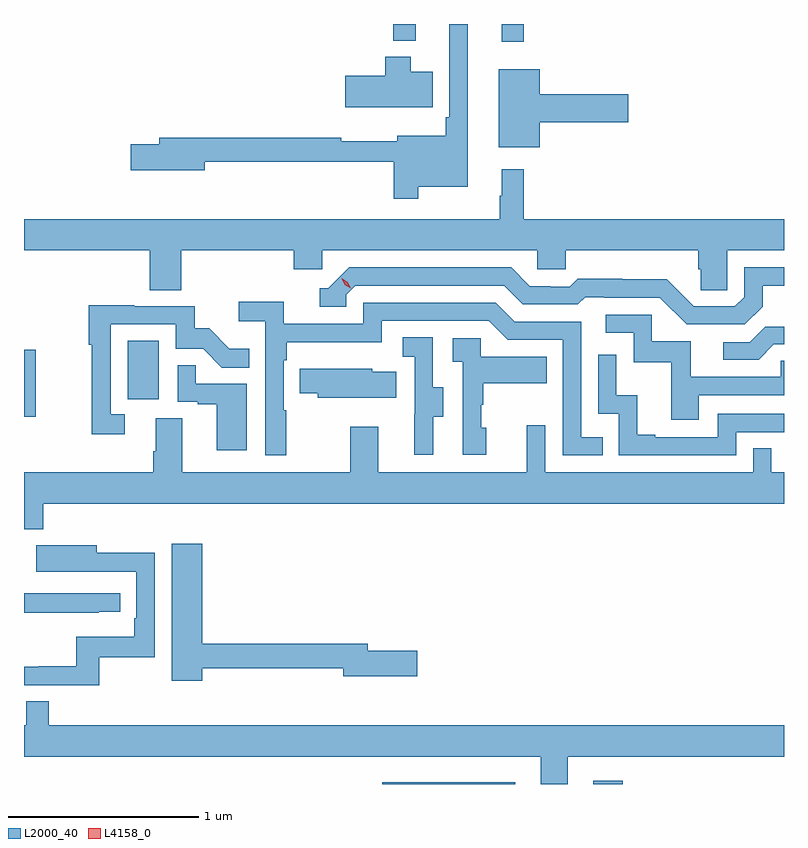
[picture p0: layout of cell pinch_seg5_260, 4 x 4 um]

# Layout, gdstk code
import gdstk
lib = gdstk.Library(unit=1e-6, precision=1e-09)
def R(c, l, rs):  # rectangles x0, y0, x1, y1
    for r in rs: c.add(gdstk.rectangle(r[:2], r[2:], *l))
def P(c, l, *ps):  # polygons
    for p in ps: c.add(gdstk.Polygon(p, *l))
L2000_40 = (2000, 40)
L4158_0 = (4158, 0)

pinch_seg5_260 = lib.new_cell('pinch_seg5_260')
R(pinch_seg5_260, L2000_40, [(898.371,895.244,899.071,895.252), (899.483,895.244,899.636,895.261), (896.486,897.177,896.548,897.529), (897.032,897.27,897.196,897.577), (899,899.151,899.117,899.244), (898.429,899.156,898.547,899.244)])
P(pinch_seg5_260, L2000_40, [(898.561,898.388),(898.822,898.388),(898.822,899.244),(898.725,899.244),(898.725,898.753),(898.705,898.753),(898.705,898.657),(898.451,898.657),(898.451,898.627),(898.155,898.627),(898.155,898.646),(897.197,898.646),(897.197,898.61),(897.048,898.61),(897.048,898.475),(897.436,898.475),(897.436,898.518),(898.432,898.518),(898.432,898.323),(898.561,898.323)],
  [(898.636,898.993),(898.522,898.993),(898.522,899.071),(898.388,899.071),(898.388,898.971),(898.176,898.971),(898.176,898.805),(898.636,898.805)],
  [(899.2,898.727),(899.665,898.727),(899.665,898.874),(899.2,898.874),(899.2,899.005),(898.985,899.005),(898.985,898.595),(899.2,898.595)],
  [(897.314,898.052),(897.905,898.052),(897.905,897.954),(898.056,897.954),(898.056,898.052),(899.187,898.052),(899.187,897.954),(899.337,897.954),(899.337,898.052),(900.035,898.052),(900.035,897.954),(900.049,897.954),(900.049,897.844),(900.186,897.844),(900.186,898.052),(900.486,898.052),(900.486,898.216),(899.117,898.216),(899.117,898.48),(899,898.48),(899,898.34),(898.989,898.34),(898.989,898.216),(896.486,898.216),(896.486,898.052),(897.149,898.052),(897.149,897.844),(897.314,897.844)],
  [(900.373,897.757),(900.373,897.867),(900.486,897.867),(900.486,897.963),(900.276,897.963),(900.276,897.807),(900.228,897.759),(900.012,897.759),(899.87,897.901),(899.634,897.901),(899.634,897.904),(899.401,897.904),(899.359,897.861),(899.256,897.861),(899.256,897.864),(899.149,897.864),(899.05,897.963),(898.197,897.963),(898.086,897.852),(898.043,897.852),(898.043,897.756),(898.182,897.756),(898.182,897.819),(898.23,897.867),(899.013,897.867),(899.112,897.768),(899.401,897.768),(899.44,897.807),(899.539,897.807),(899.539,897.804),(899.832,897.804),(899.973,897.663),(900.279,897.663)],
  [(897.865,897.212),(897.852,897.212),(897.852,897.473),(897.869,897.473),(897.869,897.569),(898.368,897.569),(898.368,897.681),(898.932,897.681),(899.031,897.582),(899.322,897.582),(899.322,896.973),(899.531,896.973),(899.531,897.069),(899.418,897.069),(899.418,897.678),(899.068,897.678),(898.969,897.777),(898.272,897.777),(898.272,897.666),(897.854,897.666),(897.854,897.782),(897.615,897.782),(897.615,897.68),(897.756,897.68),(897.756,896.973),(897.865,896.973)],
  [(897.016,897.189),(896.943,897.189),(896.943,897.663),(897.285,897.663),(897.285,897.534),(897.429,897.534),(897.527,897.436),(897.671,897.436),(897.671,897.535),(897.567,897.535),(897.46,897.642),(897.384,897.642),(897.384,897.759),(897.065,897.759),(897.065,897.764),(896.827,897.764),(896.827,897.556),(896.842,897.556),(896.842,897.084),(897.016,897.084)],
  [(900.037,897.291),(900.486,897.291),(900.486,897.471),(900.469,897.471),(900.469,897.387),(899.995,897.387),(899.995,897.573),(899.79,897.573),(899.79,897.714),(899.547,897.714),(899.547,897.618),(899.694,897.618),(899.694,897.465),(899.893,897.465),(899.893,897.162),(900.037,897.162)],
  [(900.433,897.558),(900.486,897.558),(900.486,897.65),(900.386,897.65),(900.306,897.57),(900.165,897.57),(900.165,897.477),(900.352,897.477)],
  [(898.639,897.178),(898.693,897.178),(898.693,897.333),(898.638,897.333),(898.638,897.596),(898.479,897.596),(898.479,897.493),(898.542,897.493),(898.542,897.189),(898.541,897.189),(898.541,896.976),(898.639,896.976)],
  [(898.918,897.12),(898.893,897.12),(898.893,897.239),(898.903,897.239),(898.903,897.353),(899.237,897.353),(899.237,897.493),(898.89,897.493),(898.89,897.591),(898.743,897.591),(898.743,897.467),(898.794,897.467),(898.794,896.976),(898.918,896.976)],
  [(900.234,897.096),(900.486,897.096),(900.486,897.192),(900.138,897.192),(900.138,897.069),(899.809,897.069),(899.809,897.082),(899.714,897.082),(899.714,897.29),(899.604,897.29),(899.604,897.502),(899.508,897.502),(899.508,897.192),(899.616,897.192),(899.616,896.973),(900.234,896.973)],
  [(897.658,897.351),(897.389,897.351),(897.389,897.449),(897.294,897.449),(897.294,897.255),(897.401,897.255),(897.401,897.243),(897.5,897.243),(897.5,897),(897.658,897)],
  [(898.445,897.415),(898.32,897.415),(898.32,897.43),(898.048,897.43),(898.048,897.429),(897.937,897.429),(897.937,897.301),(898.031,897.301),(898.031,897.278),(898.445,897.278)],
  [(896.588,896.72),(900.486,896.72),(900.486,896.884),(900.42,896.884),(900.42,897.011),(900.324,897.011),(900.324,896.884),(899.229,896.884),(899.229,897.133),(899.132,897.133),(899.132,896.884),(898.351,896.884),(898.351,897.124),(898.204,897.124),(898.204,896.884),(897.319,896.884),(897.319,897.17),(897.179,897.17),(897.179,896.996),(897.167,896.996),(897.167,896.884),(896.486,896.884),(896.486,896.585),(896.588,896.585)],
  [(897.424,895.854),(898.166,895.854),(898.166,895.811),(898.555,895.811),(898.555,895.946),(898.294,895.946),(898.294,895.982),(897.424,895.982),(897.424,896.509),(897.263,896.509),(897.263,895.788),(897.424,895.788)],
  [(896.881,895.911),(897.174,895.911),(897.174,896.462),(896.869,896.462),(896.869,896.5),(896.551,896.5),(896.551,896.36),(896.765,896.36),(896.765,896.361),(897.078,896.361),(897.078,896.116),(897.065,896.116),(897.065,896.02),(896.76,896.02),(896.76,895.865),(896.563,895.865),(896.563,895.86),(896.486,895.86),(896.486,895.764),(896.881,895.764)],
  [(896.879,896.151),(896.992,896.151),(896.992,896.247),(896.486,896.247),(896.486,896.146),(896.879,896.146)],
  [(899.347,895.388),(900.486,895.388),(900.486,895.552),(896.615,895.552),(896.615,895.679),(896.499,895.679),(896.499,895.552),(896.486,895.552),(896.486,895.388),(899.207,895.388),(899.207,895.244),(899.347,895.244)])
P(pinch_seg5_260, L4158_0, [(898.205,897.852),(898.175,897.872),(898.159,897.905),(898.159,897.905),(898.159,897.905),(898.19,897.885),(898.205,897.852),(898.205,897.852)])

lib.write_gds('pinch_seg5_260.gds')
